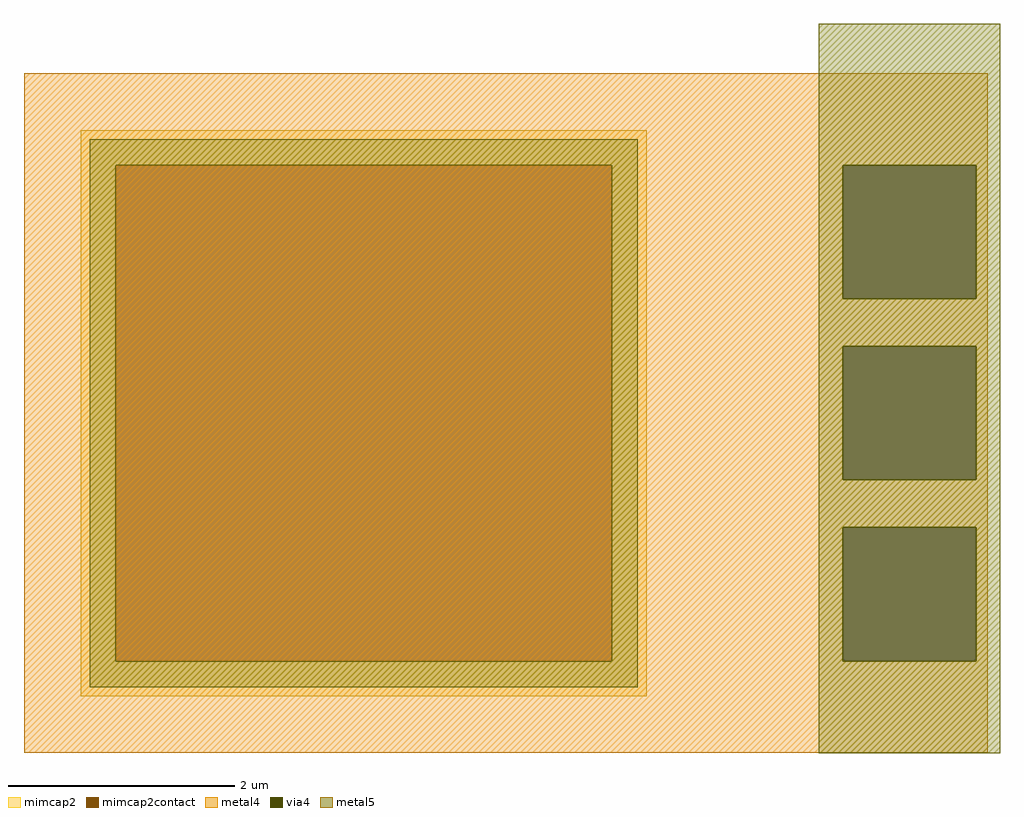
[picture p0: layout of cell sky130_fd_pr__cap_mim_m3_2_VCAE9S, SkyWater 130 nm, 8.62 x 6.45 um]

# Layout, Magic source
magic
tech sky130A
magscale 1 2
<< metal4 >>
rect -851 438 851 600
rect -851 202 595 438
rect 831 202 851 438
rect -851 118 851 202
rect -851 -118 595 118
rect 831 -118 851 118
rect -851 -202 851 -118
rect -851 -438 595 -202
rect 831 -438 851 -202
rect -851 -600 851 -438
<< via4 >>
rect 595 202 831 438
rect 595 -118 831 118
rect 595 -438 831 -202
<< mimcap2 >>
rect -751 438 249 500
rect -751 -438 -689 438
rect 187 -438 249 438
rect -751 -500 249 -438
<< mimcap2contact >>
rect -689 -438 187 438
<< metal5 >>
rect -735 438 233 484
rect -735 -438 -689 438
rect 187 -438 233 438
rect -735 -484 233 -438
rect 553 438 873 688
rect 553 202 595 438
rect 831 202 873 438
rect 553 118 873 202
rect 553 -118 595 118
rect 831 -118 873 118
rect 553 -202 873 -118
rect 553 -438 595 -202
rect 831 -438 873 -202
rect 553 -601 873 -438
<< properties >>
string FIXED_BBOX -851 -600 349 600
<< end >>
